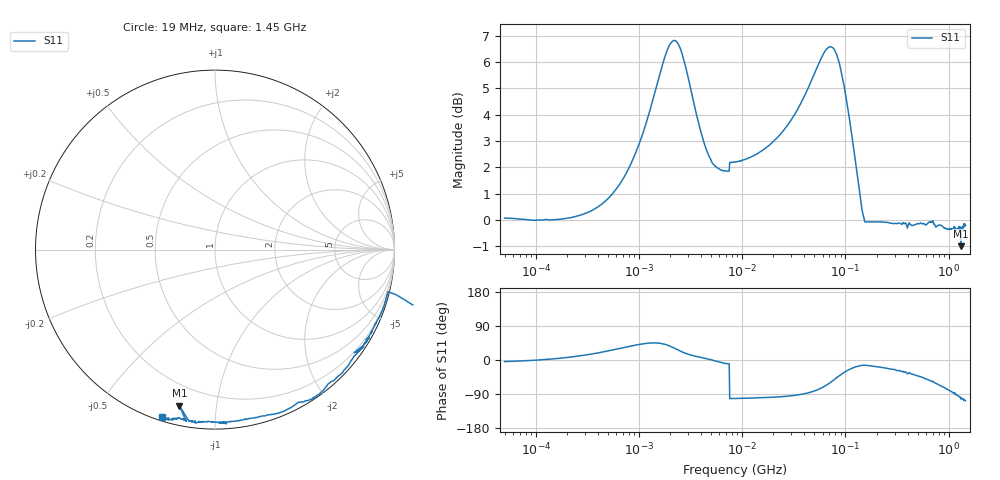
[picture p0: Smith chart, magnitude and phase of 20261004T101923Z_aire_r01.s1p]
! piloto_corto / aire / r01
# HZ S RI R 50
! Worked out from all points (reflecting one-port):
!   501 points, 50 kHz to 1.45 GHz, reference 50 ohm
!   lowest |S11| = -1.0 dB at 1.306 GHz (marker M1), VSWR 17.54, Z = 4.65 - j39.7 ohm
!   phase of S11 starts at -4 deg and turns -103 deg over the sweep
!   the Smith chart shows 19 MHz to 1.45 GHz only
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50000  1.006 -0.0734
183000  1.001 0.0947
658000  1.009 0.5978
1180000  1.105 1.064
1720000  1.473 1.347
2080000  1.796 1.234
2440000  1.941 0.9152
2980000  1.808 0.4944
3520000  1.595 0.2797
4960000  1.304 0.0148
7300000  1.22 -0.2124
7750000  -0.2618 -1.26
8560000  -0.2575 -1.264
1.81e7  -0.2139 -1.368
3.16e7  -0.0994 -1.575
4.78e7  0.2093 -1.846
6.58e7  0.8604 -1.931
7.57e7  1.238 -1.723
8.83e7  1.497 -1.275
9.82e7  1.508 -0.9366
1e8  1.493 -0.882
1.18e8  1.311 -0.4969
1.36e8  1.102 -0.3084
1.63e8  0.961 -0.2459
4.06e8  0.7991 -0.5667
6.94e8  0.5434 -0.8295
1.306e9  -0.1983 -0.8698
1.45e9  -0.2965 -0.9315
